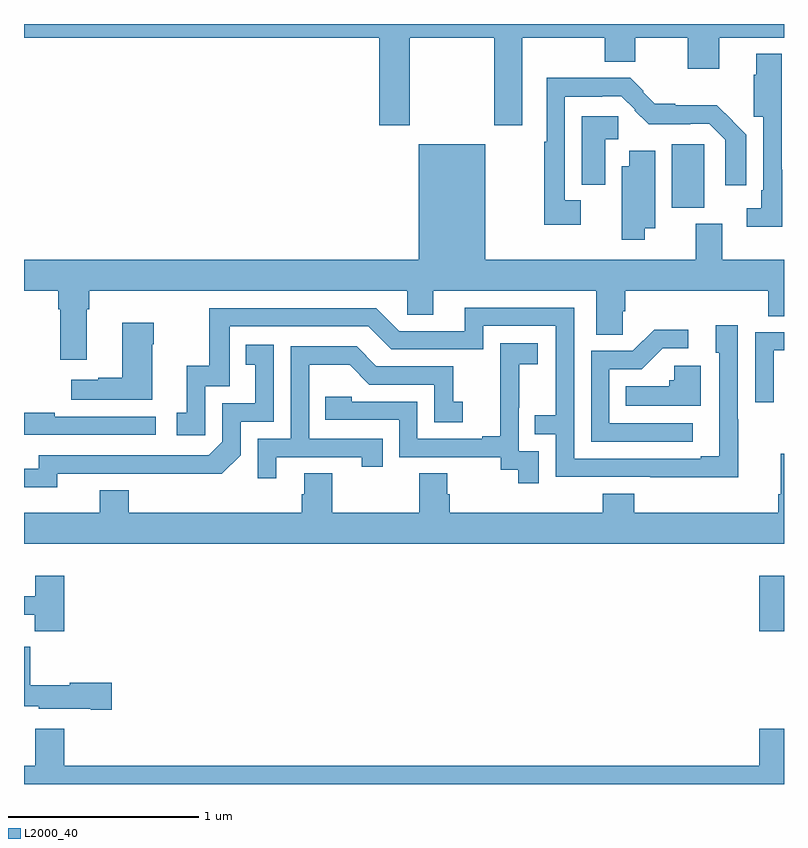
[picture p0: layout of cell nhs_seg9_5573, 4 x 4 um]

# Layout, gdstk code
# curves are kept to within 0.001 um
import gdstk
lib = gdstk.Library(unit=1e-6, precision=1e-09)
def R(c, l, rs):  # rectangles x0, y0, x1, y1
    for r in rs: c.add(gdstk.rectangle(r[:2], r[2:], *l))
def P(c, l, *ps):  # polygons
    for p in ps: c.add(gdstk.Polygon(p, *l))
L2000_40 = (2000, 40)

nhs_seg9_5573 = lib.new_cell('nhs_seg9_5573')
R(nhs_seg9_5573, L2000_40, [(438.869,1185.305,439,1185.595), (438.41,1187.534,438.58,1187.868)])
P(nhs_seg9_5573, L2000_40, [(437.031,1188.428),(437.476,1188.428),(437.476,1187.967),(437.623,1187.967),(437.623,1188.428),(438.056,1188.428),(438.056,1188.302),(438.217,1188.302),(438.217,1188.428),(438.494,1188.428),(438.494,1188.264),(438.658,1188.264),(438.658,1188.428),(439,1188.428),(439,1188.5),(435,1188.5),(435,1188.428),(436.871,1188.428),(436.871,1187.967),(437.031,1187.967)],
  [(438.99,1187.732),(438.987,1187.732),(438.987,1188.115),(438.988,1188.115),(438.988,1188.343),(438.854,1188.343),(438.854,1188.233),(438.842,1188.233),(438.842,1188.012),(438.891,1188.012),(438.891,1187.626),(438.879,1187.626),(438.879,1187.529),(438.804,1187.529),(438.804,1187.432),(438.99,1187.432)],
  [(437.93,1187.572),(437.847,1187.572),(437.847,1188.116),(438.044,1188.116),(438.044,1188.12),(438.144,1188.12),(438.216,1188.048),(438.213,1188.045),(438.287,1187.972),(438.506,1187.972),(438.506,1187.976),(438.606,1187.976),(438.69,1187.892),(438.69,1187.652),(438.802,1187.652),(438.802,1187.916),(438.647,1188.073),(438.427,1188.073),(438.427,1188.081),(438.319,1188.081),(438.257,1188.143),(438.261,1188.147),(438.191,1188.217),(437.751,1188.217),(437.751,1187.879),(437.739,1187.879),(437.739,1187.444),(437.93,1187.444)],
  [(438.058,1187.894),(438.127,1187.894),(438.127,1188.014),(437.936,1188.014),(437.936,1187.653),(438.058,1187.653)],
  [(437.155,1187.096),(438.011,1187.096),(438.011,1186.864),(438.15,1186.864),(438.15,1186.987),(438.164,1186.987),(438.164,1187.096),(438.917,1187.096),(438.917,1186.963),(439,1186.963),(439,1187.26),(438.676,1187.26),(438.676,1187.449),(438.536,1187.449),(438.536,1187.26),(437.428,1187.26),(437.428,1187.866),(437.078,1187.866),(437.078,1187.26),(435,1187.26),(435,1187.096),(435.179,1187.096),(435.179,1187),(435.191,1187),(435.191,1186.734),(435.331,1186.734),(435.331,1187),(435.344,1187),(435.344,1187.096),(437.016,1187.096),(437.016,1186.969),(437.155,1186.969)],
  [(438.268,1187.426),(438.322,1187.426),(438.322,1187.833),(438.185,1187.833),(438.185,1187.752),(438.146,1187.752),(438.146,1187.364),(438.268,1187.364)],
  [(438.759,1186.421),(438.756,1186.421),(438.756,1186.915),(438.641,1186.915),(438.641,1186.77),(438.66,1186.77),(438.66,1186.225),(438.563,1186.225),(438.563,1186.212),(437.895,1186.212),(437.895,1187.007),(437.321,1187.007),(437.321,1186.884),(436.974,1186.884),(436.854,1187.004),(435.975,1187.004),(435.975,1186.702),(435.857,1186.702),(435.857,1186.455),(435.804,1186.455),(435.804,1186.335),(435.954,1186.335),(435.954,1186.593),(436.083,1186.593),(436.083,1186.908),(436.812,1186.908),(436.932,1186.788),(437.418,1186.788),(437.418,1186.911),(437.799,1186.911),(437.799,1186.442),(437.689,1186.442),(437.689,1186.341),(437.799,1186.341),(437.799,1186.116),(438.759,1186.115)],
  [(435.676,1186.814),(435.684,1186.814),(435.684,1186.927),(435.518,1186.927),(435.518,1186.637),(435.392,1186.637),(435.392,1186.627),(435.249,1186.627),(435.249,1186.523),(435.676,1186.523)],
  [(438.52,1186.398),(438.081,1186.398),(438.081,1186.683),(438.25,1186.683),(438.361,1186.794),(438.496,1186.794),(438.496,1186.892),(438.317,1186.892),(438.204,1186.779),(437.985,1186.779),(437.985,1186.302),(438.52,1186.302)],
  [(438.945,1186.782),(439,1186.782),(439,1186.878),(438.849,1186.878),(438.849,1186.509),(438.945,1186.509)],
  [(437.709,1186.251),(437.604,1186.251),(437.604,1186.481),(437.606,1186.481),(437.606,1186.709),(437.704,1186.709),(437.704,1186.819),(437.506,1186.819),(437.506,1186.613),(437.507,1186.613),(437.507,1186.33),(437.411,1186.33),(437.411,1186.317),(437.07,1186.317),(437.07,1186.512),(436.725,1186.512),(436.725,1186.539),(436.585,1186.539),(436.585,1186.416),(436.974,1186.416),(436.974,1186.221),(437.508,1186.221),(437.508,1186.153),(437.601,1186.153),(437.601,1186.083),(437.709,1186.083)],
  [(435.174,1186.134),(436.042,1186.133),(436.14,1186.23),(436.14,1186.407),(436.314,1186.407),(436.314,1186.813),(436.168,1186.813),(436.168,1186.707),(436.217,1186.707),(436.217,1186.503),(436.044,1186.503),(436.044,1186.302),(435.972,1186.23),(435.078,1186.23),(435.078,1186.158),(435,1186.158),(435,1186.061),(435.174,1186.061)],
  [(436.327,1186.221),(436.778,1186.221),(436.778,1186.17),(436.889,1186.17),(436.889,1186.317),(436.5,1186.317),(436.5,1186.706),(436.714,1186.706),(436.818,1186.602),(437.16,1186.602),(437.16,1186.404),(437.308,1186.404),(437.308,1186.513),(437.259,1186.513),(437.259,1186.698),(436.855,1186.698),(436.75,1186.803),(436.404,1186.803),(436.404,1186.317),(436.23,1186.317),(436.23,1186.11),(436.327,1186.11)],
  [(438.562,1186.702),(438.423,1186.702),(438.423,1186.626),(438.397,1186.626),(438.397,1186.594),(438.166,1186.594),(438.166,1186.49),(438.562,1186.49)],
  [(435.694,1186.434),(435.161,1186.434),(435.161,1186.454),(435,1186.454),(435,1186.338),(435.694,1186.338)],
  [(439,1186.237),(438.983,1186.237),(438.983,1186.024),(438.971,1186.024),(438.971,1185.928),(438.212,1185.928),(438.212,1186.027),(438.047,1186.027),(438.047,1185.928),(437.24,1185.928),(437.24,1186.026),(437.227,1186.026),(437.227,1186.136),(437.08,1186.136),(437.08,1185.928),(436.623,1185.928),(436.623,1186.136),(436.475,1186.136),(436.475,1186.026),(436.463,1186.026),(436.463,1185.928),(435.551,1185.928),(435.551,1186.045),(435.398,1186.045),(435.398,1185.928),(435,1185.928),(435,1185.764),(439,1185.764)],
  [(435.212,1185.595),(435.059,1185.595),(435.059,1185.489),(435,1185.489),(435,1185.39),(435.057,1185.39),(435.057,1185.305),(435.212,1185.305)],
  [(435.463,1185.032),(435.24,1185.032),(435.24,1185.019),(435.032,1185.019),(435.032,1185.223),(435,1185.223),(435,1184.909),(435.078,1184.909),(435.078,1184.897),(435.35,1184.897),(435.35,1184.89),(435.463,1184.89)],
  [(439,1184.791),(438.869,1184.791),(438.869,1184.596),(435.212,1184.596),(435.212,1184.791),(435.059,1184.791),(435.059,1184.596),(435,1184.596),(435,1184.5),(439,1184.5)])

lib.write_gds('nhs_seg9_5573.gds')
